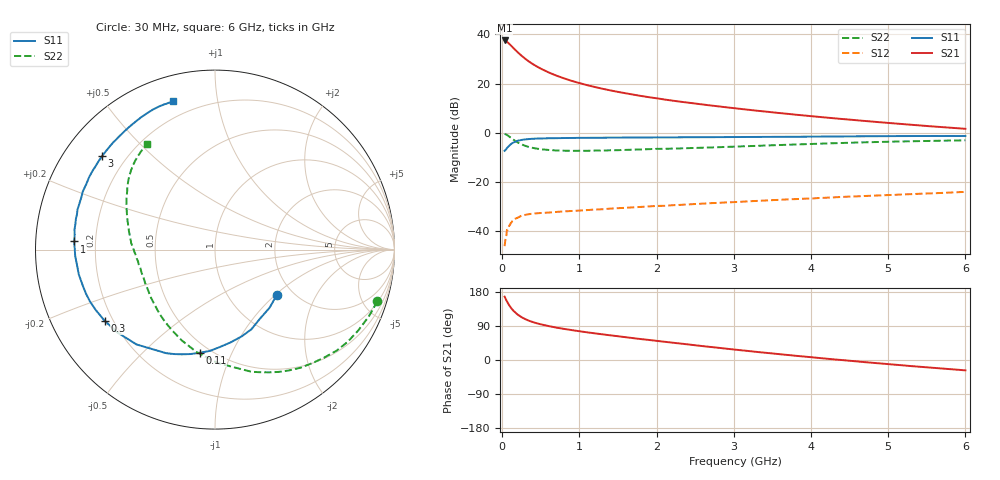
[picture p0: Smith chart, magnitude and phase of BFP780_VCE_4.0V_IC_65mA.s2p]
! Infineon Technologies  Discrete & RF Semiconductors
! BFP780
! VCE =  4.0 V,  IC =  65 mA
! Common Emitter S-Parameters:  Jul 2015
# GHz  S  MA  R  50
!  f  S11  S21  S12  S22
! GHz  MAG  ANG  MAG  ANG  MAG  ANG  MAG  ANG
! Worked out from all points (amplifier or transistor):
!   75 points, 30 MHz to 6 GHz, reference 50 ohm
!   highest |S21| = 37.6 dB at 30 MHz (marker M1)
!   |S21| within 3 dB of that: start of sweep to 141.2 MHz
!   unconditionally stable (mu >= 1): 1.833 GHz to end of sweep
!   at 150 MHz: K = 0.16, MSG = 34.8 dB, |S12| = -35.2 dB
!   at 2.3 GHz: K = 1.11, MAG = 19.0 dB, |S12| = -29.4 dB
!   at 6 GHz: K = 1.23, MAG = 10.0 dB, |S12| = -24.1 dB
!   S11 on the Smith chart (normalised r, x): 30 MHz: 1.65, -1.03; 110 MHz: 0.44, -0.76; 300 MHz: 0.17, -0.29; 1 GHz: 0.12, +0.03; 3 GHz: 0.11, +0.35; 6 GHz: 0.12, +0.75
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0.03  0.4274 -36.4  75.57 167.1  0.0049 70.5  0.9495 -17.7
0.05  0.4601 -57.3  72.63 158.6  0.0072 56.9  0.916 -29.6
0.07  0.5061 -73.0  68.82 151.1  0.0105 67.7  0.8809 -39.7
0.09  0.5437 -87.2  64.47 144.3  0.0129 53.7  0.8321 -49.6
0.11  0.5808 -98.4  60.03 138.4  0.0145 52.5  0.7891 -58.6
0.13  0.6124 -107.7  55.83 133.3  0.0159 46.9  0.7471 -66.3
0.15  0.6382 -115.3  51.84 128.8  0.0173 43.9  0.7103 -73.4
0.2  0.6859 -129.6  43.35 119.7  0.0186 37.2  0.6327 -88.5
0.25  0.7131 -139.6  36.88 112.9  0.0205 32.1  0.579 -100.4
0.3  0.7314 -147.1  31.78 107.6  0.0213 31.4  0.5384 -110.2
0.4  0.7541 -157.4  24.72 99.8  0.0227 26.8  0.4889 -124.8
0.5  0.7632 -164.4  20.11 94.1  0.0232 24.5  0.4607 -135.3
0.7  0.7739 -173.9  14.55 85.5  0.0244 23.4  0.4349 -149.6
1  0.786 176.7  10.23 75.9  0.026 23.5  0.4291 -162.6
1.1  0.7858 174.1  9.281 73.0  0.0266 23.8  0.4284 -166.0
1.5  0.7938 165.7  6.774 62.7  0.0291 25.1  0.4412 -175.6
2.1  0.8043 155.0  4.748 48.2  0.0325 25.9  0.4705 174.3
3  0.8166 140.5  3.165 27.7  0.0386 25.8  0.5204 160.0
3.1  0.8177 139.1  3.038 25.6  0.0393 26.0  0.5272 158.5
4.1  0.8337 125.1  2.103 5.4  0.0468 23.5  0.597 144.9
5.1  0.8537 113.8  1.538 -12.6  0.0545 19.3  0.6597 133.1
6  0.8573 105.7  1.201 -27.3  0.0624 14.4  0.7012 122.6
